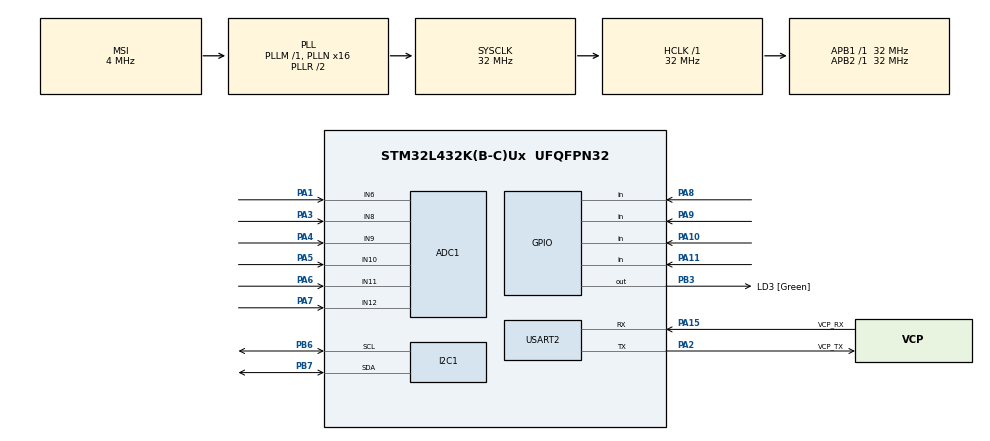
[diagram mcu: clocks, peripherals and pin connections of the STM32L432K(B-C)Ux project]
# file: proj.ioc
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ADC1.Channel-1\#ChannelRegularConversion=ADC_CHANNEL_8
ADC1.Channel-2\#ChannelRegularConversion=ADC_CHANNEL_9
ADC1.Channel-3\#ChannelRegularConversion=ADC_CHANNEL_10
ADC1.Channel-4\#ChannelRegularConversion=ADC_CHANNEL_11
ADC1.Channel-5\#ChannelRegularConversion=ADC_CHANNEL_12
ADC1.Channel-6\#ChannelRegularConversion=ADC_CHANNEL_6
ADC1.ClockPrescaler=ADC_CLOCK_ASYNC_DIV32
ADC1.ContinuousConvMode=ENABLE
ADC1.NbrOfConversion=6
ADC1.NbrOfConversionFlag=1
ADC1.OffsetNumber-1\#ChannelRegularConversion=ADC_OFFSET_NONE
ADC1.OffsetNumber-2\#ChannelRegularConversion=ADC_OFFSET_NONE
ADC1.OffsetNumber-3\#ChannelRegularConversion=ADC_OFFSET_NONE
ADC1.OffsetNumber-4\#ChannelRegularConversion=ADC_OFFSET_NONE
ADC1.OffsetNumber-5\#ChannelRegularConversion=ADC_OFFSET_NONE
ADC1.OffsetNumber-6\#ChannelRegularConversion=ADC_OFFSET_NONE
ADC1.Rank-1\#ChannelRegularConversion=1
ADC1.Rank-2\#ChannelRegularConversion=2
ADC1.Rank-3\#ChannelRegularConversion=3
ADC1.Rank-4\#ChannelRegularConversion=4
ADC1.Rank-5\#ChannelRegularConversion=5
ADC1.Rank-6\#ChannelRegularConversion=6
ADC1.SamplingTime-1\#ChannelRegularConversion=ADC_SAMPLETIME_640CYCLES_5
ADC1.SamplingTime-2\#ChannelRegularConversion=ADC_SAMPLETIME_2CYCLES_5
ADC1.SamplingTime-3\#ChannelRegularConversion=ADC_SAMPLETIME_2CYCLES_5
ADC1.SamplingTime-4\#ChannelRegularConversion=ADC_SAMPLETIME_2CYCLES_5
ADC1.SamplingTime-5\#ChannelRegularConversion=ADC_SAMPLETIME_2CYCLES_5
ADC1.SamplingTime-6\#ChannelRegularConversion=ADC_SAMPLETIME_2CYCLES_5
ADC1.master=1
Dma.ADC1.0.Direction=DMA_PERIPH_TO_MEMORY
Dma.ADC1.0.Instance=DMA1_Channel1
Dma.ADC1.0.MemDataAlignment=DMA_MDATAALIGN_WORD
Dma.ADC1.0.MemInc=DMA_MINC_ENABLE
Dma.ADC1.0.Mode=DMA_CIRCULAR
Dma.ADC1.0.PeriphDataAlignment=DMA_PDATAALIGN_WORD
Dma.ADC1.0.PeriphInc=DMA_PINC_DISABLE
Dma.ADC1.0.Priority=DMA_PRIORITY_LOW
Dma.Request0=ADC1
I2C1.Timing=0x00707CBB
Mcu.Family=STM32L4
Mcu.Name=STM32L432K(B-C)Ux
Mcu.Package=UFQFPN32
NVIC.DMA1_Channel1_IRQn=true\:0\:0\:false\:false\:true\:false\:true\:true
NVIC.PriorityGroup=NVIC_PRIORITYGROUP_4
PA0.GPIO_Label=MCO [High speed clock in]
PA0.Signal=RCC_CK_IN
PA1.Signal=ADCx_IN6
PA10.GPIO_PuPd=GPIO_PULLDOWN
PA10.Signal=GPIO_Input
PA11.GPIO_PuPd=GPIO_PULLDOWN
PA11.Signal=GPIO_Input
PA13\ (JTMS-SWDIO).GPIO_Label=SWDIO
PA13\ (JTMS-SWDIO).Signal=SYS_JTMS-SWDIO
PA14\ (JTCK-SWCLK).GPIO_Label=SWCLK
PA14\ (JTCK-SWCLK).Signal=SYS_JTCK-SWCLK
PA15\ (JTDI).GPIO_Label=VCP_RX
PA15\ (JTDI).Mode=Asynchronous
PA15\ (JTDI).Signal=USART2_RX
PA2.GPIO_Label=VCP_TX
PA2.Mode=Asynchronous
PA2.Signal=USART2_TX
PA3.Signal=ADCx_IN8
PA4.Signal=ADCx_IN9
PA5.Signal=ADCx_IN10
PA6.Signal=ADCx_IN11
PA7.Signal=ADCx_IN12
PA8.GPIO_PuPd=GPIO_PULLDOWN
PA8.Signal=GPIO_Input
PA9.GPIO_PuPd=GPIO_PULLDOWN
PA9.Signal=GPIO_Input
PB3\ (JTDO-TRACESWO).GPIO_Label=LD3 [Green]
PB3\ (JTDO-TRACESWO).Signal=GPIO_Output
PB6.Mode=I2C
PB6.Signal=I2C1_SCL
PB7.Mode=I2C
PB7.Signal=I2C1_SDA
PC14-OSC32_IN\ (PC14).Signal=RCC_OSC32_IN
PC15-OSC32_OUT\ (PC15).Signal=RCC_OSC32_OUT
ProjectManager.HeapSize=0x200
ProjectManager.StackSize=0x400
ProjectManager.TargetToolchain=STM32CubeIDE
RCC.ADCFreq_Value=32000000
RCC.AHBFreq_Value=32000000
RCC.APB1Freq_Value=32000000
RCC.APB1TimFreq_Value=32000000
RCC.APB2Freq_Value=32000000
RCC.APB2TimFreq_Value=32000000
RCC.CortexFreq_Value=32000000
RCC.HCLKFreq_Value=32000000
RCC.HSE_VALUE=8000000
RCC.HSI16_VALUE=16000000
RCC.HSI48_VALUE=48000000
RCC.HSI_VALUE=16000000
RCC.LSE_VALUE=32768
RCC.MSI_VALUE=4000000
RCC.PLLMUL=RCC_PLLMUL_4
RCC.PLLN=16
RCC.PLLSAI1N=16
RCC.SYSCLKFreq_VALUE=32000000
RCC.SYSCLKSource=RCC_SYSCLKSOURCE_PLLCLK
RCC.USBFreq_Value=32000000
RCC.VCOOutputFreq_Value=64000000
SH.ADCx_IN10.0=ADC1_IN10,IN10-Single-Ended
SH.ADCx_IN11.0=ADC1_IN11,IN11-Single-Ended
SH.ADCx_IN12.0=ADC1_IN12,IN12-Single-Ended
SH.ADCx_IN6.0=ADC1_IN6,IN6-Single-Ended
SH.ADCx_IN8.0=ADC1_IN8,IN8-Single-Ended
SH.ADCx_IN9.0=ADC1_IN9,IN9-Single-Ended
USART2.VirtualMode-Asynchronous=VM_ASYNC
board=NUCLEO-L432KC

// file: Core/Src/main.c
/* USER CODE BEGIN Header */
/**
  ******************************************************************************
  * @file           : main.c
  * @brief          : Main program body
  ******************************************************************************
  * @attention
  *
  * Copyright (c) 2024 STMicroelectronics.
  * All rights reserved.
  *
  * This software is licensed under terms that can be found in the LICENSE file
  * in the root directory of this software component.
  * If no LICENSE file comes with this software, it is provided AS-IS.
  *
  ******************************************************************************
  */
/* USER CODE END Header */
#include "main.h"

/* USER CODE BEGIN Includes */
#include <stdio.h>
/* USER CODE END Includes */

ADC_HandleTypeDef hadc1;
DMA_HandleTypeDef hdma_adc1;

I2C_HandleTypeDef hi2c1;

UART_HandleTypeDef huart2;

void SystemClock_Config(void);
static void MX_GPIO_Init(void);
static void MX_DMA_Init(void);
static void MX_USART2_UART_Init(void);
static void MX_I2C1_Init(void);
static void MX_ADC1_Init(void);

int main(void)
{

  /* MCU Configuration--------------------------------------------------------*/

  /* Reset of all peripherals, Initializes the Flash interface and the Systick. */
  HAL_Init();

  /* Configure the system clock */
  SystemClock_Config();

  /* Initialize all configured peripherals */
  MX_GPIO_Init();
  MX_DMA_Init();
  MX_USART2_UART_Init();
  MX_I2C1_Init();
  MX_ADC1_Init();
  /* USER CODE BEGIN 2 */
   uint8_t buf[10]= {0x20, 0b10010111};
   #define SAD_W_A 0x32
   #define SAD_R_A 0x33
   HAL_StatusTypeDef ret = HAL_I2C_Master_Transmit(&hi2c1, SAD_W_A, &buf[0], 2, 1000);

   uint32_t value[6];
   //define the bool type variable for each finger
   int thumb_curved;
   int index_curved;
   int middle_curved;
   int ring_curved;
   int little_curved;
   int switch_state;
   //helper function for each finger curve detection
   int detect_switch_state(int ADC_value){
	   if (ADC_value > 4000){
		   return 1;
	   }
	   else {
		   return 0;
	   }
   }
   int detect_thumb_curved(int ADC_value){
	   if (ADC_value < 200 ){
		   return 1;
	   }
	   else{
		   return 0;
	   }
   }

   int detect_index_curved(int ADC_value){
   	   if (ADC_value < 50 ){
   		   return 1;
   	   }
   	   else{
   		   return 0;
   	   }
      }

   int detect_middle_curved(int ADC_value){
   	   if (ADC_value < 100 ){
   		   return 1;
   	   }
   	   else{
   		   return 0;
   	   }
      }

   int detect_ring_curved(int ADC_value){
   	   if (ADC_value < 2805 ){
   		   return 1;
   	   }
   	   else{
   		   return 0;
   	   }
      }

   int detect_little_curved(int ADC_value){
   	   if (ADC_value < 2810 ){
   		   return 1;
   	   }
   	   else{
   		   return 0;
   	   }
      }

  /* USER CODE END 2 */

  /* Infinite loop */
  /* USER CODE BEGIN WHILE */
  while (1)
  {
	  //THIS IS IMU. UNCOMMENT TO USE
	  	  /*buf[0]= 0x28 | 0b10000000;
	  	  ret = HAL_I2C_Master_Transmit(&hi2c1, SAD_W_A, &buf[0], 1, 1000);
	  	  if ( ret != HAL_OK ) {
	  		  printf("Error Tx\r\n");
	  	  } else{
	  	  ret = HAL_I2C_Master_Receive(&hi2c1, SAD_R_A, &buf[0], 6, 1000);
	  	  if ( ret != HAL_OK ) {
	  	          printf("Error Rx\r\n");
	  	        } else {
	  	  int16_t X_A = buf[0] | buf[1]<<8;
	  	  int16_t Y_A = buf[2] | buf[3]<<8;
	  	  int16_t Z_A = buf[4] | buf[5]<<8;
	  	  //printf("x axis raw: %d, %f Gs\n\r", X_A, (double)X_A*0.00006125);
	  	  //printf("y axis raw: %d, %f Gs\n\r", Y_A, (double)Y_A*0.00006125);
	  	  //printf("z axis raw: %d, %f Gs\n\r", Z_A, (double)Z_A*0.00006125);
	  	  printf("x axis: %f Gs ", (double)X_A*0.00006125);
	  	  printf("y axis: %f Gs ", (double)Y_A*0.00006125);
	  	  printf("z axis: %f Gs\n\r", (double)Z_A*0.00006125);
	  	      }
	  	  }*/

	  HAL_ADC_Start_DMA(&hadc1, value, 6);
	  //printf("1: %ld 2: %ld 3: %ld 4: %ld 5: %ld 6: %ld\n\r", value[0], value[1], value[2], value[3], value[4],value[5]);

	   thumb_curved = detect_thumb_curved (value[4]);
	   index_curved = detect_index_curved (value[0]);
	   middle_curved = detect_middle_curved (value[1]);
	   ring_curved = detect_ring_curved (value[2]);
	   little_curved = detect_little_curved (value[3]);

	   int switch_state = detect_switch_state (value[5]);

	   GPIO_PinState if_touch_1  = HAL_GPIO_ReadPin(GPIOA, GPIO_PIN_10);
	   GPIO_PinState if_touch_2  = HAL_GPIO_ReadPin(GPIOA, GPIO_PIN_9);
	   GPIO_PinState if_touch_3  = HAL_GPIO_ReadPin(GPIOA, GPIO_PIN_8);
	   GPIO_PinState if_touch_4  = HAL_GPIO_ReadPin(GPIOA, GPIO_PIN_11);

	   printf("if touch_1:, %d if touch_2: %d if touch_3: %d if touch_4: %d \n",if_touch_1, if_touch_2, if_touch_3, if_touch_4);

	   if (switch_state == 1){

		   if (thumb_curved == 0 && index_curved == 0 && middle_curved == 0 && ring_curved == 0 && little_curved == 0){
			   //printf("five \n");
		   }
		   else if (thumb_curved == 1 && index_curved == 0 && middle_curved == 0 && ring_curved == 0 && little_curved == 0){
		  			   //printf("four \n");
		  		   }
		   else if (thumb_curved == 1 && index_curved == 1 && middle_curved == 0 && ring_curved == 0 && little_curved == 0){
		  			   //printf("three \n");
		  		   }
		   else if (thumb_curved == 1 && index_curved == 0 && middle_curved == 0 && ring_curved == 1 && little_curved == 1){
		  			  // printf("two \n");
		  		   }
		   if (thumb_curved == 1 && index_curved == 0 && middle_curved == 1 && ring_curved == 1 && little_curved == 1){
		  			  // printf("one \n");
		  		   }
	   }
	   else {
		   printf("turn the glove off \n");
	   }

	  //yuzhen chen modification:
	  //use the PA1 to get the input from the switch. and use that signal to control if the glove work or not

    /* USER CODE END WHILE */

  }
}

void SystemClock_Config(void)
{
  RCC_OscInitTypeDef RCC_OscInitStruct = {0};
  RCC_ClkInitTypeDef RCC_ClkInitStruct = {0};

  /** Configure the main internal regulator output voltage
  */
  if (HAL_PWREx_ControlVoltageScaling(PWR_REGULATOR_VOLTAGE_SCALE1) != HAL_OK)
  {
    Error_Handler();
  }

  /** Initializes the RCC Oscillators according to the specified parameters
  * in the RCC_OscInitTypeDef structure.
  */
  RCC_OscInitStruct.OscillatorType = RCC_OSCILLATORTYPE_MSI;
  RCC_OscInitStruct.MSIState = RCC_MSI_ON;
  RCC_OscInitStruct.MSICalibrationValue = 0;
  RCC_OscInitStruct.MSIClockRange = RCC_MSIRANGE_6;
  RCC_OscInitStruct.PLL.PLLState = RCC_PLL_ON;
  RCC_OscInitStruct.PLL.PLLSource = RCC_PLLSOURCE_MSI;
  RCC_OscInitStruct.PLL.PLLM = 1;
  RCC_OscInitStruct.PLL.PLLN = 16;
  RCC_OscInitStruct.PLL.PLLP = RCC_PLLP_DIV7;
  RCC_OscInitStruct.PLL.PLLQ = RCC_PLLQ_DIV2;
  RCC_OscInitStruct.PLL.PLLR = RCC_PLLR_DIV2;
  if (HAL_RCC_OscConfig(&RCC_OscInitStruct) != HAL_OK)
  {
    Error_Handler();
  }

  /** Initializes the CPU, AHB and APB buses clocks
  */
  RCC_ClkInitStruct.ClockType = RCC_CLOCKTYPE_HCLK|RCC_CLOCKTYPE_SYSCLK
                              |RCC_CLOCKTYPE_PCLK1|RCC_CLOCKTYPE_PCLK2;
  RCC_ClkInitStruct.SYSCLKSource = RCC_SYSCLKSOURCE_PLLCLK;
  RCC_ClkInitStruct.AHBCLKDivider = RCC_SYSCLK_DIV1;
  RCC_ClkInitStruct.APB1CLKDivider = RCC_HCLK_DIV1;
  RCC_ClkInitStruct.APB2CLKDivider = RCC_HCLK_DIV1;

  if (HAL_RCC_ClockConfig(&RCC_ClkInitStruct, FLASH_LATENCY_1) != HAL_OK)
  {
    Error_Handler();
  }
}

static void MX_ADC1_Init(void)
{

  ADC_ChannelConfTypeDef sConfig = {0};

  /** Common config
  */
  hadc1.Instance = ADC1;
  hadc1.Init.ClockPrescaler = ADC_CLOCK_ASYNC_DIV32;
  hadc1.Init.Resolution = ADC_RESOLUTION_12B;
  hadc1.Init.DataAlign = ADC_DATAALIGN_RIGHT;
  hadc1.Init.ScanConvMode = ADC_SCAN_ENABLE;
  hadc1.Init.EOCSelection = ADC_EOC_SINGLE_CONV;
  hadc1.Init.LowPowerAutoWait = DISABLE;
  hadc1.Init.ContinuousConvMode = ENABLE;
  hadc1.Init.NbrOfConversion = 6;
  hadc1.Init.DiscontinuousConvMode = DISABLE;
  hadc1.Init.ExternalTrigConv = ADC_SOFTWARE_START;
  hadc1.Init.ExternalTrigConvEdge = ADC_EXTERNALTRIGCONVEDGE_NONE;
  hadc1.Init.DMAContinuousRequests = DISABLE;
  hadc1.Init.Overrun = ADC_OVR_DATA_PRESERVED;
  hadc1.Init.OversamplingMode = DISABLE;
  if (HAL_ADC_Init(&hadc1) != HAL_OK)
  {
    Error_Handler();
  }

  /** Configure Regular Channel
  */
  sConfig.Channel = ADC_CHANNEL_8;
  sConfig.Rank = ADC_REGULAR_RANK_1;
  sConfig.SamplingTime = ADC_SAMPLETIME_640CYCLES_5;
  sConfig.SingleDiff = ADC_SINGLE_ENDED;
  sConfig.OffsetNumber = ADC_OFFSET_NONE;
  sConfig.Offset = 0;
  if (HAL_ADC_ConfigChannel(&hadc1, &sConfig) != HAL_OK)
  {
    Error_Handler();
  }

  /** Configure Regular Channel
  */
  sConfig.Channel = ADC_CHANNEL_9;
  sConfig.Rank = ADC_REGULAR_RANK_2;
  sConfig.SamplingTime = ADC_SAMPLETIME_2CYCLES_5;
  if (HAL_ADC_ConfigChannel(&hadc1, &sConfig) != HAL_OK)
  {
    Error_Handler();
  }

  /** Configure Regular Channel
  */
  sConfig.Channel = ADC_CHANNEL_10;
  sConfig.Rank = ADC_REGULAR_RANK_3;
  if (HAL_ADC_ConfigChannel(&hadc1, &sConfig) != HAL_OK)
  {
    Error_Handler();
  }

  /** Configure Regular Channel
  */
  sConfig.Channel = ADC_CHANNEL_11;
  sConfig.Rank = ADC_REGULAR_RANK_4;
  if (HAL_ADC_ConfigChannel(&hadc1, &sConfig) != HAL_OK)
  {
    Error_Handler();
  }

  /** Configure Regular Channel
  */
  sConfig.Channel = ADC_CHANNEL_12;
  sConfig.Rank = ADC_REGULAR_RANK_5;
  if (HAL_ADC_ConfigChannel(&hadc1, &sConfig) != HAL_OK)
  {
    Error_Handler();
  }

  /** Configure Regular Channel
  */
  sConfig.Channel = ADC_CHANNEL_6;
  sConfig.Rank = ADC_REGULAR_RANK_6;
  if (HAL_ADC_ConfigChannel(&hadc1, &sConfig) != HAL_OK)
  {
    Error_Handler();
  }

}

static void MX_I2C1_Init(void)
{

  hi2c1.Instance = I2C1;
  hi2c1.Init.Timing = 0x00707CBB;
  hi2c1.Init.OwnAddress1 = 0;
  hi2c1.Init.AddressingMode = I2C_ADDRESSINGMODE_7BIT;
  hi2c1.Init.DualAddressMode = I2C_DUALADDRESS_DISABLE;
  hi2c1.Init.OwnAddress2 = 0;
  hi2c1.Init.OwnAddress2Masks = I2C_OA2_NOMASK;
  hi2c1.Init.GeneralCallMode = I2C_GENERALCALL_DISABLE;
  hi2c1.Init.NoStretchMode = I2C_NOSTRETCH_DISABLE;
  if (HAL_I2C_Init(&hi2c1) != HAL_OK)
  {
    Error_Handler();
  }

  /** Configure Analogue filter
  */
  if (HAL_I2CEx_ConfigAnalogFilter(&hi2c1, I2C_ANALOGFILTER_ENABLE) != HAL_OK)
  {
    Error_Handler();
  }

  /** Configure Digital filter
  */
  if (HAL_I2CEx_ConfigDigitalFilter(&hi2c1, 0) != HAL_OK)
  {
    Error_Handler();
  }

}

static void MX_USART2_UART_Init(void)
{

  huart2.Instance = USART2;
  huart2.Init.BaudRate = 115200;
  huart2.Init.WordLength = UART_WORDLENGTH_8B;
  huart2.Init.StopBits = UART_STOPBITS_1;
  huart2.Init.Parity = UART_PARITY_NONE;
  huart2.Init.Mode = UART_MODE_TX_RX;
  huart2.Init.HwFlowCtl = UART_HWCONTROL_NONE;
  huart2.Init.OverSampling = UART_OVERSAMPLING_16;
  huart2.Init.OneBitSampling = UART_ONE_BIT_SAMPLE_DISABLE;
  huart2.AdvancedInit.AdvFeatureInit = UART_ADVFEATURE_NO_INIT;
  if (HAL_UART_Init(&huart2) != HAL_OK)
  {
    Error_Handler();
  }

}

static void MX_DMA_Init(void)
{

  /* DMA controller clock enable */
  __HAL_RCC_DMA1_CLK_ENABLE();

  /* DMA interrupt init */
  /* DMA1_Channel1_IRQn interrupt configuration */
  HAL_NVIC_SetPriority(DMA1_Channel1_IRQn, 0, 0);
  HAL_NVIC_EnableIRQ(DMA1_Channel1_IRQn);

}

static void MX_GPIO_Init(void)
{
  GPIO_InitTypeDef GPIO_InitStruct = {0};

  /* GPIO Ports Clock Enable */
  __HAL_RCC_GPIOC_CLK_ENABLE();
  __HAL_RCC_GPIOA_CLK_ENABLE();
  __HAL_RCC_GPIOB_CLK_ENABLE();

  /*Configure GPIO pin Output Level */
  HAL_GPIO_WritePin(LD3_GPIO_Port, LD3_Pin, GPIO_PIN_RESET);

  /*Configure GPIO pins : PA8 PA9 PA10 PA11 */
  GPIO_InitStruct.Pin = GPIO_PIN_8|GPIO_PIN_9|GPIO_PIN_10|GPIO_PIN_11;
  GPIO_InitStruct.Mode = GPIO_MODE_INPUT;
  GPIO_InitStruct.Pull = GPIO_PULLDOWN;
  HAL_GPIO_Init(GPIOA, &GPIO_InitStruct);

  /*Configure GPIO pin : LD3_Pin */
  GPIO_InitStruct.Pin = LD3_Pin;
  GPIO_InitStruct.Mode = GPIO_MODE_OUTPUT_PP;
  GPIO_InitStruct.Pull = GPIO_NOPULL;
  GPIO_InitStruct.Speed = GPIO_SPEED_FREQ_LOW;
  HAL_GPIO_Init(LD3_GPIO_Port, &GPIO_InitStruct);

}

/* USER CODE BEGIN 4 */
#ifdef __GNUC__
#define PUTCHAR_PROTOTYPE int __io_putchar(int ch)
#else
  #define PUTCHAR_PROTOTYPE int fputc(int ch, FILE *f)
#endif /* __GNUC__ */
PUTCHAR_PROTOTYPE
{
  HAL_UART_Transmit(&huart2, (uint8_t *)&ch, 1, 0xFFFF);
  return ch;
}

/* USER CODE END 4 */

void Error_Handler(void)
{
  __disable_irq();
  while (1)
  {
  }
}
